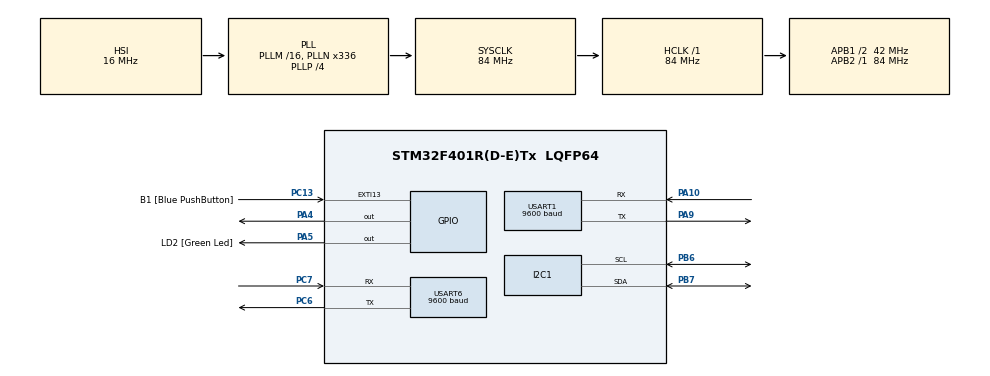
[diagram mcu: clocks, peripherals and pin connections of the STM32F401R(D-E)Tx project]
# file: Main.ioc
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I2C1.OwnAddress=0x0
Mcu.Family=STM32F4
Mcu.Name=STM32F401R(D-E)Tx
Mcu.Package=LQFP64
NVIC.PriorityGroup=NVIC_PRIORITYGROUP_0
PA10.Mode=Asynchronous
PA10.Signal=USART1_RX
PA13.GPIO_Label=TMS
PA13.Signal=SYS_JTMS-SWDIO
PA14.GPIO_Label=TCK
PA14.Signal=SYS_JTCK-SWCLK
PA2.GPIO_Label=USART_TX
PA2.GPIO_Mode=GPIO_MODE_AF_PP
PA2.GPIO_PuPd=GPIO_NOPULL
PA2.GPIO_Speed=GPIO_SPEED_FREQ_LOW
PA2.Signal=USART2_TX
PA3.GPIO_Label=USART_RX
PA3.GPIO_Mode=GPIO_MODE_AF_PP
PA3.GPIO_PuPd=GPIO_NOPULL
PA3.GPIO_Speed=GPIO_SPEED_FREQ_LOW
PA3.Signal=USART2_RX
PA4.Signal=GPIO_Output
PA5.GPIO_Label=LD2 [Green Led]
PA5.GPIO_Mode=GPIO_MODE_OUTPUT_PP
PA5.GPIO_PuPd=GPIO_NOPULL
PA5.GPIO_Speed=GPIO_SPEED_FREQ_LOW
PA5.Signal=GPIO_Output
PA9.Mode=Asynchronous
PA9.Signal=USART1_TX
PB3.GPIO_Label=SWO
PB3.Signal=SYS_JTDO-SWO
PB6.Mode=I2C
PB6.Signal=I2C1_SCL
PB7.Mode=I2C
PB7.Signal=I2C1_SDA
PC13-ANTI_TAMP.GPIO_Label=B1 [Blue PushButton]
PC13-ANTI_TAMP.GPIO_ModeDefaultEXTI=GPIO_MODE_IT_FALLING
PC13-ANTI_TAMP.GPIO_PuPd=GPIO_NOPULL
PC13-ANTI_TAMP.Signal=GPXTI13
PC14-OSC32_IN.Signal=RCC_OSC32_IN
PC15-OSC32_OUT.Signal=RCC_OSC32_OUT
PC6.Mode=Asynchronous
PC6.Signal=USART6_TX
PC7.Mode=Asynchronous
PC7.Signal=USART6_RX
PH0\ -\ OSC_IN.Signal=RCC_OSC_IN
PH1\ -\ OSC_OUT.Signal=RCC_OSC_OUT
ProjectManager.HeapSize=0x200
ProjectManager.StackSize=0x400
ProjectManager.TargetToolchain=STM32CubeIDE
RCC.AHBFreq_Value=84000000
RCC.APB1CLKDivider=RCC_HCLK_DIV2
RCC.APB1Freq_Value=42000000
RCC.APB1TimFreq_Value=84000000
RCC.APB2Freq_Value=84000000
RCC.APB2TimFreq_Value=84000000
RCC.CortexFreq_Value=84000000
RCC.HCLKFreq_Value=84000000
RCC.HSE_VALUE=8000000
RCC.HSI_VALUE=16000000
RCC.LSE_VALUE=32768
RCC.PLLN=336
RCC.PLLP=RCC_PLLP_DIV4
RCC.PLLQ=7
RCC.SYSCLKFreq_VALUE=84000000
RCC.SYSCLKSource=RCC_SYSCLKSOURCE_PLLCLK
RCC.VCOOutputFreq_Value=336000000
USART1.BaudRate=9600
USART1.VirtualMode=VM_ASYNC
USART6.BaudRate=9600
USART6.VirtualMode=VM_ASYNC
board=NUCLEO-F401RE

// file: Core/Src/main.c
/* USER CODE BEGIN Header */
/**
  ******************************************************************************
  * @file           : main.c
  * @brief          : Main program body
  ******************************************************************************
  * @attention
  *
  * Copyright (c) 2022 STMicroelectronics.
  * All rights reserved.
  *
  * This software is licensed under terms that can be found in the LICENSE file
  * in the root directory of this software component.
  * If no LICENSE file comes with this software, it is provided AS-IS.
  *
  ******************************************************************************
  */
/* USER CODE END Header */
#include "main.h"

/* USER CODE BEGIN Includes */

#include <stdbool.h>
#include <limits.h>
#include <string.h>
#include <stdio.h>

/* USER CODE END Includes */

/* USER CODE BEGIN PD */

#define LCD_ADDRESS 0x4E
#define INVALID_VAL 10

#define CLR 0 // Clear
#define ADD 1 // Add
#define SUB 2 // Subtract
#define MUL 3 // Multiply
#define DIV 4 // Divide
#define EQL 5 // Equal
#define NEG 6 // Negate
#define MOD 7 // Modulo
#define BSP 8 // Backspace

#define OVF_ERR 11 // Overflow Error
#define DIV_ERR 12 // Divide by 0 Error
#define INV_OP_ERR 13 //Invalid Operation Error
#define MOD_ERR 14 // Modulo by 0 Error

/* USER CODE END PD */

I2C_HandleTypeDef hi2c1;

UART_HandleTypeDef huart1;
UART_HandleTypeDef huart6;

/* USER CODE BEGIN PV */

//int curr_number = 0;
double first_num = 0; // Number on first row
int first_num_neg = 0; // 0: first_num is positive, 1: first_num is negative
double second_num = 0; // Number on second row
int second_num_neg = 0; // 0: second_num is positive, 1: second_num is negative
int current_num_update = 1; // Number glove is updating first or second number
int operation = ADD; // Operation
double result = 0; // Result
int result_ready = 0; // 0: Result is not ready to display, 1: Result is ready to display

uint8_t operation_val = INVALID_VAL;
uint8_t digit_val = INVALID_VAL;
/*
* reset_flag dictates how much of the board to reset
* 1 : All lines are reset, used to start new calculation
* 2 : Only second line and results are reset, used to chain operations
*/
int reset_flag = 0;

/* error_flag specifications
 * 0 = No Error
 * 11 = Overflow Error
 * 12 = Divide by 0 Error
 * 13 = Invalid Operation Error
 * 14 = Modulo by 0 Error
 */
int error_flag;
/* USER CODE END PV */

void SystemClock_Config(void);
static void MX_GPIO_Init(void);
static void MX_I2C1_Init(void);
static void MX_USART6_UART_Init(void);
static void MX_USART1_UART_Init(void);
/* USER CODE BEGIN PFP */

void handle_reset();
void handle_negate();
void print_error();
void execute_calculation();
void handle_equal();
void handle_clear();
void handle_backspace();
void update_operation();
void update_digit();
void update_display();
void handle_operation_val();
void hangle_digit_val();
void handle_error();
void test();
void lcd_send_cmd(char);
void lcd_send_char(char);
void lcd_clear();
void lcd_send_string(char *);
void lcd_init();
/* USER CODE END PFP */

/* USER CODE BEGIN 0 */

// Resets LCD Display
void handle_reset() {

	if(!reset_flag)
	{
		return;
	}
	lcd_clear();

	if(reset_flag == 1)
	{
		first_num = 0;
		first_num_neg = 0;
		current_num_update = 1;
		operation = ADD;
	}
	second_num = 0;
	second_num_neg = 0;
	result = 0;
	result_ready = 0;

	error_flag = 0;
	reset_flag = 0;
}

// Negates the current number
void handle_negate() {
	if(current_num_update == 1)
	{
		// Negate first number
		first_num_neg = !first_num_neg;
		first_num = -1 * first_num;
	}
	else
	{
		// Negate second number
		second_num_neg = !second_num_neg;
		second_num = -1 * second_num;
	}

}

// Print error to display
void print_error() {
	lcd_clear();
	if(error_flag == OVF_ERR)
	{
		lcd_send_cmd(0x00|0x80);
		lcd_send_string("Overflow Error");
	}
	if(error_flag == DIV_ERR)
	{
		lcd_send_cmd(0x00|0x80);
		lcd_send_string("Divide By 0 Error");
	}
	if(error_flag == INV_OP_ERR)
	{
		lcd_send_cmd(0x00|0x80);
		lcd_send_string("Invalid Operation");
		lcd_send_cmd(0x40|0x80);
		lcd_send_string("Error");
	}
	if(error_flag == MOD_ERR)
	{
		lcd_send_cmd(0x00|0x80);
		lcd_send_string("Modulo By 0 Error");
	}
	HAL_Delay(5000);
	reset_flag = 1;
	handle_reset();
}

//Executes calculations, and allows result to be displayed
void execute_calculation() {

	if (operation == ADD) {
		result = first_num + second_num;
	}
	else if (operation == SUB) {
		result = first_num - second_num;
	}
	else if (operation == MUL) {
		result = first_num * second_num;
	}
	else if (operation == DIV) {
		// Check for divide by 0 error
		if (second_num == 0) {
			error_flag = DIV_ERR;
			return;
		}
		result = first_num / second_num;
	}
	else if (operation == MOD){
		// Check for modulo by 0 error
		if (second_num == 0) {
			error_flag = MOD_ERR;
			return;
		}
		result = (long long)first_num % (long long)second_num;
	}
	result_ready = 1;

}

// Prepares display to be reset, and calls execute_calculations
void handle_equal() {
	reset_flag = 1;
	execute_calculation();
}

// Clears display
void handle_clear() {
	reset_flag = 1;
	handle_reset();
	lcd_send_cmd(0x00|0x80);
	lcd_send_string("Display Cleared");
	HAL_Delay(3000);
	lcd_clear();
}

//Deletes the ones digit of the current number
void handle_backspace() {

	if(current_num_update == 1)
	{
		// Update first_num
		int last_digit = (long long)first_num % 10;
		first_num = first_num - last_digit;
		first_num = first_num / 10.0;

	}
	else
	{
		// Update second_num
		int last_digit = (long long)second_num % 10;
		second_num = second_num - last_digit;
		second_num = second_num / 10.0;
	}
}

// Updates operation
void update_operation()
{
	//Chain operations
	if(reset_flag == 2)
	{
		execute_calculation();
		first_num = result;
		if(first_num >= 10000000000000000.0)
		{
			error_flag = OVF_ERR;
			return;
		}
		handle_reset();
	}

	// Update the operation
	operation = operation_val;

	// Start updating the second number
	current_num_update = 2;
}

//Updates digit
void update_digit() {

	if(current_num_update == 1)
	{
		// Update the first number
		first_num *= 10;
		if(first_num_neg == 0)
		{
			// First number is positive
			first_num += digit_val;
		}
		else
		{
			// First number is negative
			first_num -= digit_val;
		}
	}

	if(current_num_update == 2)
	{
		// Update the second number
		second_num *= 10;
		if(second_num_neg == 0)
		{
			// Second number is positive
			second_num += digit_val;
		}
		else
		{
			// Second number is negative
			second_num -= digit_val;
		}
	}
}

// Update display
void update_display()
{
	// Buffer to hold string representation of numbers
	char numstr[41];
	memset(numstr, ' ', 40);
	numstr[40] = '\0';

	lcd_send_cmd(0x00|0x80);

	// Blank space for positive first number
	if(!first_num_neg)
	{
		lcd_send_char(' ');
	}
	// Update first number
	snprintf(numstr, 18, "%.5f", first_num);
	lcd_send_string(numstr);

	// Update operation
	lcd_send_cmd(0x13|0x80);
	if(operation == ADD)
	{
		lcd_send_char('+');
	}
	else if(operation == SUB)
	{
		lcd_send_char('-');
	}
	else if(operation == MUL)
	{
		lcd_send_char('*');
	}
	else if(operation == DIV)
	{
		lcd_send_char('/');
	}
	else if(operation == MOD)
	{
		lcd_send_char('%');
	}
	else
	{
		lcd_send_char(' ');
	}

	lcd_send_cmd(0x40|0x80);

	// Blank space for positive second number
	if(!second_num_neg)
	{
		lcd_send_char(' ');
	}

	// clear numstr buffer for second number
	memset(numstr, ' ', 18);
	snprintf(numstr, 18, "%.5f", second_num);
	lcd_send_string(numstr);

	//Display equal sign and result if result is ready
	if(result_ready)
	{
		lcd_send_cmd(0x53|0x80);
		lcd_send_char('=');

		// clear numstr buffer for result
		memset(numstr, ' ', 18);
		snprintf(numstr, 40, "%.10f", result);
		// Break result into 2 parts to display on third and fourth line
		char res_front[21];
		char res_back[21];
		memcpy(res_front, numstr, 20*sizeof(*numstr));
		res_front[20] = '\0';
		memcpy(res_back, &numstr[20], 20*sizeof(*numstr));
		res_back[20] = '\0';

		// Display third line
		lcd_send_cmd(0x14|0x80);
		lcd_send_string(res_front);

		// Display fourth line
		lcd_send_cmd(0x54|0x80);
		lcd_send_string(res_back);
	}
}

// Handles value received from operation glove
void handle_operation_val() {
	if (operation_val == NEG)
	{
		handle_negate();
	}
	else if(operation_val == EQL)
	{
		handle_equal();
	}
	else if(operation_val == CLR)
	{
		handle_clear();
	}
	else if(operation_val == BSP)
	{
		handle_backspace();
	}
	else if(operation_val > 8)
	{
		//Invalid Operation
		error_flag = INV_OP_ERR;
		return;
	}
	else
  	{
		update_operation();
  	}

	//Update display
	update_display();
}

// Handles value received from digit glove
void handle_digit_val() {

	//Clear screen to allow for next calculation if needed
	if(reset_flag == 1)
	{
		handle_reset();
	}
	if(current_num_update == 1)
	{
		// If first_number will overflow
		// can only display 18 digits
		if(first_num >= 10000000000000000.0)
		{
			error_flag = OVF_ERR;
			return;
		}
	}
	if(current_num_update == 2)
	{
		// If second_number will overflow
		// can only display 18 digits
		if(second_num >= 10000000000000000.0)
		{
			error_flag = OVF_ERR;
			return;
		}
		// If an operation is inputed after the second number,
		// do calculation and move second_num to first_num
		// to allow for chaining operations
		reset_flag = 2;
	}

	update_digit();

	//Update display
	update_display();
}

// Calls print error if necessary
void handle_error()
{
	if(error_flag)
	{
		print_error();
	}
}

//Test function
void test() {
	digit_val = 4;
	handle_digit_val();
}

/* Sends a command to the LCD display
 * Used for:
 * Changing cursor location
 * Changing display mode
 * Initializing display
 * etc.
 */
void lcd_send_cmd(char cmd) {
	char data_u, data_l;
	uint8_t ctrl_buf[4];

	data_u = (cmd&0xf0);
	data_l = ((cmd<<4)&0xf0);
	ctrl_buf[0] = data_u|0x0C;
	ctrl_buf[1] = data_u|0x08;
	ctrl_buf[2] = data_l|0x0C;
	ctrl_buf[3] = data_l|0x08;

	HAL_I2C_Master_Transmit(&hi2c1, LCD_ADDRESS, ctrl_buf, 4, 100);
}

// Writes a character to the LCD display
void lcd_send_char(char cha) {
	char data_u, data_l;
	uint8_t ctrl_buf[4];

	data_u = (cha&0xf0);
	data_l = ((cha<<4)&0xf0);
	ctrl_buf[0] = data_u|0x0D;
	ctrl_buf[1] = data_u|0x09;
	ctrl_buf[2] = data_l|0x0D;
	ctrl_buf[3] = data_l|0x09;

	HAL_I2C_Master_Transmit(&hi2c1, LCD_ADDRESS, ctrl_buf, 4, 100);
}

// Clears LCD display
void lcd_clear() {
	lcd_send_cmd(0x80);
	for(int i = 0; i < 80; i++)
	{
		lcd_send_char(' ');
	}
}

// Helper function to display a string to the LCD display
void lcd_send_string(char* str){
	while(*str)
	{
		lcd_send_char(*str++);
	}
}

// Initializes LCD display according to datasheet
void lcd_init() {
	HAL_Delay(50);  // wait for >40ms after Vcc rises to 2.7V
	lcd_send_cmd (0x30);
	HAL_Delay(10);  // wait for >4.1ms
	lcd_send_cmd (0x30);
	HAL_Delay(5);  // wait for >100us
	lcd_send_cmd (0x30);
	HAL_Delay(10);
	lcd_send_cmd (0x20);  // 4bit mode
	HAL_Delay(10);
	lcd_send_cmd (0x28); // Function set --> DL=0 (4 bit mode), N = 1 (2 line display) F = 0 (5x8 characters)
	HAL_Delay(5);
	lcd_send_cmd (0x08); // Display on/off control --> D=0,C=0, B=0  ---> display off
	HAL_Delay(5);
	lcd_send_cmd (0x01);  // clear display
	HAL_Delay(5);
	lcd_send_cmd (0x06); // Entry mode set --> I/D = 1 (increment cursor) & S = 0 (no shift)
	HAL_Delay(5);
	lcd_send_cmd (0x0F); // Display on/off control --> D, C, B= 1 Display, Cursor, and Blinking on
	HAL_Delay(5);
	lcd_send_cmd(0x00|0x80); // Reset cursor to beginning
}

/* USER CODE END 0 */

int main(void)
{

  /* MCU Configuration--------------------------------------------------------*/

  /* Reset of all peripherals, Initializes the Flash interface and the Systick. */
  HAL_Init();

  /* Configure the system clock */
  SystemClock_Config();

  /* Initialize all configured peripherals */
  MX_GPIO_Init();
  MX_I2C1_Init();
  MX_USART6_UART_Init();
  MX_USART1_UART_Init();
  /* USER CODE BEGIN 2 */

  // Initialize LCD
  lcd_init();

  //Testing the LCD
  // Uncomment to run tests
  //test();

  /* USER CODE END 2 */

  /* Infinite loop */
  /* USER CODE BEGIN WHILE */
  while (1)
  {
	  operation_val = INVALID_VAL;
	  digit_val = INVALID_VAL;
//	  HAL_Delay(50);
	  HAL_UART_Receive(&huart1, &operation_val, 1, 100);
//	  HAL_Delay(50);
	  HAL_UART_Receive(&huart6, &digit_val, 1, 100);
//	  HAL_Delay(50);

	  if (operation_val != INVALID_VAL) {
		  handle_operation_val();
	  }
	  if (digit_val != INVALID_VAL) {
		  handle_digit_val();
	  }

	  handle_error();
    /* USER CODE END WHILE */

  }
}

void SystemClock_Config(void)
{
  RCC_OscInitTypeDef RCC_OscInitStruct = {0};
  RCC_ClkInitTypeDef RCC_ClkInitStruct = {0};

  /** Configure the main internal regulator output voltage
  */
  __HAL_RCC_PWR_CLK_ENABLE();
  __HAL_PWR_VOLTAGESCALING_CONFIG(PWR_REGULATOR_VOLTAGE_SCALE2);

  /** Initializes the RCC Oscillators according to the specified parameters
  * in the RCC_OscInitTypeDef structure.
  */
  RCC_OscInitStruct.OscillatorType = RCC_OSCILLATORTYPE_HSI;
  RCC_OscInitStruct.HSIState = RCC_HSI_ON;
  RCC_OscInitStruct.HSICalibrationValue = RCC_HSICALIBRATION_DEFAULT;
  RCC_OscInitStruct.PLL.PLLState = RCC_PLL_ON;
  RCC_OscInitStruct.PLL.PLLSource = RCC_PLLSOURCE_HSI;
  RCC_OscInitStruct.PLL.PLLM = 16;
  RCC_OscInitStruct.PLL.PLLN = 336;
  RCC_OscInitStruct.PLL.PLLP = RCC_PLLP_DIV4;
  RCC_OscInitStruct.PLL.PLLQ = 7;
  if (HAL_RCC_OscConfig(&RCC_OscInitStruct) != HAL_OK)
  {
    Error_Handler();
  }

  /** Initializes the CPU, AHB and APB buses clocks
  */
  RCC_ClkInitStruct.ClockType = RCC_CLOCKTYPE_HCLK|RCC_CLOCKTYPE_SYSCLK
                              |RCC_CLOCKTYPE_PCLK1|RCC_CLOCKTYPE_PCLK2;
  RCC_ClkInitStruct.SYSCLKSource = RCC_SYSCLKSOURCE_PLLCLK;
  RCC_ClkInitStruct.AHBCLKDivider = RCC_SYSCLK_DIV1;
  RCC_ClkInitStruct.APB1CLKDivider = RCC_HCLK_DIV2;
  RCC_ClkInitStruct.APB2CLKDivider = RCC_HCLK_DIV1;

  if (HAL_RCC_ClockConfig(&RCC_ClkInitStruct, FLASH_LATENCY_2) != HAL_OK)
  {
    Error_Handler();
  }
}

static void MX_I2C1_Init(void)
{

  hi2c1.Instance = I2C1;
  hi2c1.Init.ClockSpeed = 100000;
  hi2c1.Init.DutyCycle = I2C_DUTYCYCLE_2;
  hi2c1.Init.OwnAddress1 = 0;
  hi2c1.Init.AddressingMode = I2C_ADDRESSINGMODE_7BIT;
  hi2c1.Init.DualAddressMode = I2C_DUALADDRESS_DISABLE;
  hi2c1.Init.OwnAddress2 = 0;
  hi2c1.Init.GeneralCallMode = I2C_GENERALCALL_DISABLE;
  hi2c1.Init.NoStretchMode = I2C_NOSTRETCH_DISABLE;
  if (HAL_I2C_Init(&hi2c1) != HAL_OK)
  {
    Error_Handler();
  }

}

static void MX_USART1_UART_Init(void)
{

  huart1.Instance = USART1;
  huart1.Init.BaudRate = 9600;
  huart1.Init.WordLength = UART_WORDLENGTH_8B;
  huart1.Init.StopBits = UART_STOPBITS_1;
  huart1.Init.Parity = UART_PARITY_NONE;
  huart1.Init.Mode = UART_MODE_TX_RX;
  huart1.Init.HwFlowCtl = UART_HWCONTROL_NONE;
  huart1.Init.OverSampling = UART_OVERSAMPLING_16;
  if (HAL_UART_Init(&huart1) != HAL_OK)
  {
    Error_Handler();
  }

}

static void MX_USART6_UART_Init(void)
{

  huart6.Instance = USART6;
  huart6.Init.BaudRate = 9600;
  huart6.Init.WordLength = UART_WORDLENGTH_8B;
  huart6.Init.StopBits = UART_STOPBITS_1;
  huart6.Init.Parity = UART_PARITY_NONE;
  huart6.Init.Mode = UART_MODE_TX_RX;
  huart6.Init.HwFlowCtl = UART_HWCONTROL_NONE;
  huart6.Init.OverSampling = UART_OVERSAMPLING_16;
  if (HAL_UART_Init(&huart6) != HAL_OK)
  {
    Error_Handler();
  }

}

static void MX_GPIO_Init(void)
{
  GPIO_InitTypeDef GPIO_InitStruct = {0};

  /* GPIO Ports Clock Enable */
  __HAL_RCC_GPIOC_CLK_ENABLE();
  __HAL_RCC_GPIOH_CLK_ENABLE();
  __HAL_RCC_GPIOA_CLK_ENABLE();
  __HAL_RCC_GPIOB_CLK_ENABLE();

  /*Configure GPIO pin Output Level */
  HAL_GPIO_WritePin(GPIOA, GPIO_PIN_4|LD2_Pin, GPIO_PIN_RESET);

  /*Configure GPIO pin : B1_Pin */
  GPIO_InitStruct.Pin = B1_Pin;
  GPIO_InitStruct.Mode = GPIO_MODE_IT_FALLING;
  GPIO_InitStruct.Pull = GPIO_NOPULL;
  HAL_GPIO_Init(B1_GPIO_Port, &GPIO_InitStruct);

  /*Configure GPIO pins : USART_TX_Pin USART_RX_Pin */
  GPIO_InitStruct.Pin = USART_TX_Pin|USART_RX_Pin;
  GPIO_InitStruct.Mode = GPIO_MODE_AF_PP;
  GPIO_InitStruct.Pull = GPIO_NOPULL;
  GPIO_InitStruct.Speed = GPIO_SPEED_FREQ_LOW;
  GPIO_InitStruct.Alternate = GPIO_AF7_USART2;
  HAL_GPIO_Init(GPIOA, &GPIO_InitStruct);

  /*Configure GPIO pins : PA4 LD2_Pin */
  GPIO_InitStruct.Pin = GPIO_PIN_4|LD2_Pin;
  GPIO_InitStruct.Mode = GPIO_MODE_OUTPUT_PP;
  GPIO_InitStruct.Pull = GPIO_NOPULL;
  GPIO_InitStruct.Speed = GPIO_SPEED_FREQ_LOW;
  HAL_GPIO_Init(GPIOA, &GPIO_InitStruct);

}

void Error_Handler(void)
{
  __disable_irq();
  while (1)
  {
  }
}
